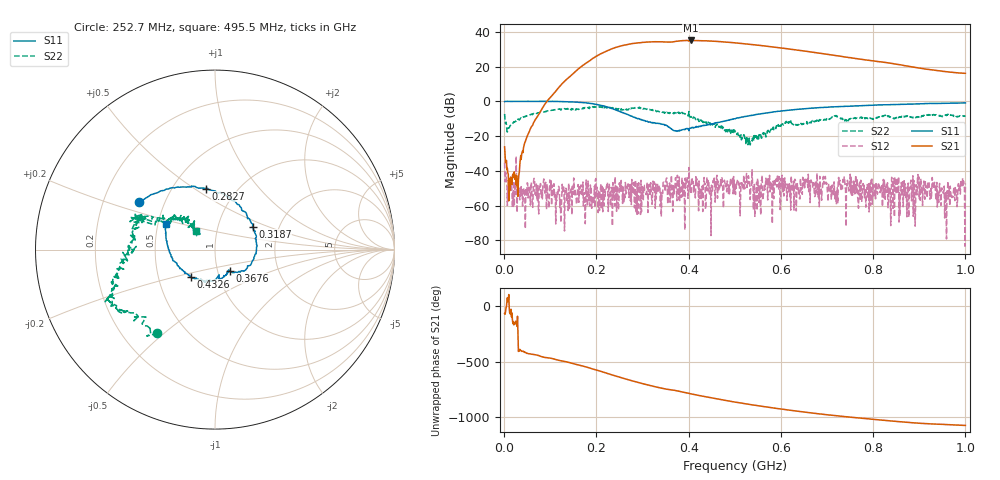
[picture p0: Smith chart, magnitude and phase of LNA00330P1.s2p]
! Created with skrf 1.9.0 (http://scikit-rf.org).
# Hz S RI R 50.0
!freq ReS11 ImS11 ReS21 ImS21 ReS12 ImS12 ReS22 ImS22
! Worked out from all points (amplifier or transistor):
!   1001 points, 1 MHz to 1 GHz, reference 50 ohm
!   highest |S21| = 35.0 dB at 404.6 MHz (marker M1)
!   |S21| within 3 dB of that: 255.9 MHz to 558.9 MHz (303 MHz wide, 74.4 % of centre)
!   unconditionally stable (mu >= 1): 4.516 MHz to 78.86 MHz; 223.9 MHz to 400.4 MHz; 400.8 MHz to end of sweep (the widest 3 of 27)
!   at 166.8 MHz: K = 0.66, MSG = 34.0 dB, |S12| = -48.1 dB
!   at 500.5 MHz: K = 2.21, MAG = 34.2 dB, |S12| = -47.1 dB
!   at 1 GHz: K = 2.68, MAG = 24.6 dB, |S12| = -47.4 dB
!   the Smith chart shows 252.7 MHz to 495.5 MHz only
!   S11 on the Smith chart (normalised r, x): 252.7 MHz: 0.36, +0.25; 282.7 MHz: 0.72, +0.56; 318.7 MHz: 1.47, +0.39; 367.6 MHz: 1.15, -0.28; 432.6 MHz: 0.73, -0.23; 495.5 MHz: 0.55, +0.17
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1000000  0.9826 0.00663  0.0189 -0.0451  -0.0172 -5.07e-05  0.3073 0.3056
1.08892e8  0.5092 -0.8531  -0.8266 -1.563  0.00171 9.3e-07  0.4353 -0.3566
1.67833e8  -0.2557 -0.8912  -10.18 -0.5059  -0.00193 0.00102  0.0728 -0.6214
2.12788e8  -0.688 -0.3026  -15.12 19.33  0.00223 -0.000418  -0.185 -0.6308
2.31769e8  -0.6316 0.00883  -7.176 30.91  0.000635 -0.00316  -0.2668 -0.6006
2.52748e8  -0.4227 0.2671  8.984 38.19  -0.00181 0.00186  -0.3205 -0.4663
2.82718e8  -0.0502 0.3403  35.35 30.64  -0.000304 0.000803  -0.5738 -0.3009
3.18682e8  0.2092 0.1263  51.66 2.347  0.00221 0.00146  -0.5356 -0.1591
3.34666e8  0.2306 0.000277  50.59 -11.95  0.00101 0.00271  -0.5108 -0.0777
3.67633e8  0.0833 -0.1175  41.18 -31.62  -0.00153 0.00114  -0.4207 0.1275
4.04596e8  -1.98e-05 -0.1688  19.2 -53.2  0.000297 0.00212  -0.3265 0.1553
4.32568e8  -0.1354 -0.151  -3.429 -55.2  0.00318 0.0036  -0.2061 0.1675
4.64536e8  -0.2451 -0.0292  -25.21 -46.5  0.00444 0.0023  -0.1202 0.1518
4.95505e8  -0.2743 0.1402  -38.15 -30.69  0.00603 -0.000764  -0.1035 0.1045
5.005e8  -0.2693 0.1623  -39.59 -28.17  -0.00261 -0.00357  -0.1047 0.082
5.39461e8  -0.1812 0.358  -42.18 -7.143  0.00295 -0.00235  -0.0717 -0.0128
5.84416e8  0.0187 0.496  -34.95 11.33  0.00145 -0.000624  -0.1438 -0.051
6.25375e8  0.2129 0.5315  -23.46 20.31  -0.000316 -0.00251  -0.1862 -0.1183
6.67333e8  0.4106 0.4882  -11.84 23.11  0.000102 -0.00427  -0.2616 -0.0505
7.41259e8  0.6484 0.3159  2.034 18.68  4.9e-05 -0.000245  -0.2779 0.0204
8.34166e8  0.7994 0.0171  8.568 9.381  -0.00139 0.00288  -0.3722 0.0904
1e9  0.731 -0.5271  6.386 0.578  -0.000414 0.00425  -0.1726 0.3186
